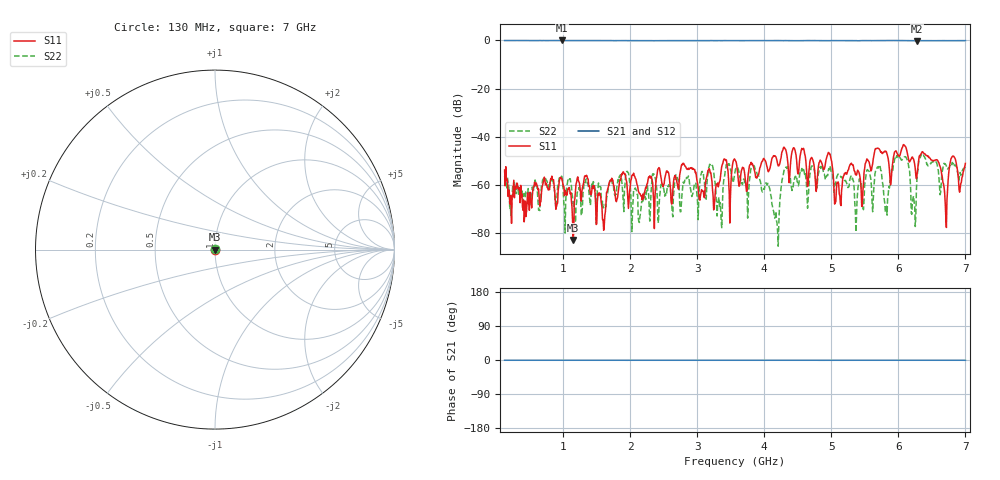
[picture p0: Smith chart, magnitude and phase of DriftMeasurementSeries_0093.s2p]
# Hz S RI R 50.000000
! Metas.Vna.Tools, 2.8.8664.20301
! Metas.Vna.Data, 2.8.8664.20285
! Created: UTC 2024.02.11 10:08:53
! FREQ  re:S1,1  im:S1,1  re:S2,1  im:S2,1  re:S1,2  im:S1,2  re:S2,2  im:S2,2
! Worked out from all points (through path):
!   801 points, 130 MHz to 7 GHz, reference 50 ohm
!   highest |S21| = -0.02 dB at 988.8 MHz (marker M1); lowest = -0.2 dB at 6.279 GHz (marker M2)
!   lowest |S11| = -82.7 dB at 1.152 GHz (marker M3), VSWR 1.00, Z = 50 - j0.00616 ohm
!   |S11| at or under -10 dB: start of sweep to end of sweep
!   |S22| runs from -85.4 to -46.7 dB; largest |S21 - S12| = 0.021
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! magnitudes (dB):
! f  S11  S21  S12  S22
! 130 MHz  -53.8  0.0  0.0  -56.2
! 430.6 MHz  -72.1  0.0  0.0  -64.6
! 988.8 MHz  -58.0  0.0  0.0  -57.3
! 1.152 GHz  -82.7  -0.1  0.0  -67.5
! 1.281 GHz  -63.2  -0.1  0.0  -72.6
! 1.607 GHz  -78.8  -0.1  0.0  -69.4
! 1.71 GHz  -58.0  -0.1  0.0  -58.6
! 2.423 GHz  -53.2  -0.1  0.0  -75.7
! 3.204 GHz  -54.8  -0.1  0.0  -51.2
! 3.333 GHz  -58.6  -0.1  0.0  -69.2
! 3.565 GHz  -49.5  -0.1  0.0  -54.5
! 4.183 GHz  -49.1  -0.1  0.0  -74.7
! 4.321 GHz  -45.2  -0.1  0.0  -52.7
! 4.716 GHz  -48.9  -0.1  0.0  -52.3
! 5.085 GHz  -59.0  -0.1  0.0  -56.4
! 5.858 GHz  -50.8  0.0  0.0  -60.6
! 5.987 GHz  -47.1  -0.1  0.0  -47.6
! 6.279 GHz  -55.8  -0.2  0.0  -57.0
! 6.579 GHz  -49.6  -0.1  0.0  -51.6
! 6.699 GHz  -67.6  -0.1  0.0  -51.2
! 6.802 GHz  -48.2  -0.1  0.0  -50.6
! 7 GHz  -51.0  -0.1  0.0  -53.0
